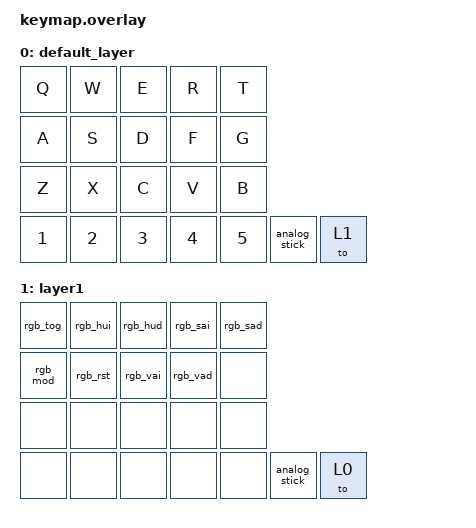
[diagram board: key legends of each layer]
/ {
    keymap {
        compatible = "zmk,keymap";

        default_layer {
            bindings = <
                &kp Q &kp W &kp E &kp R &kp T
                &kp A &kp S &kp D &kp F &kp G
                &kp Z &kp X &kp C &kp V &kp B
                &kp 1 &kp 2 &kp 3 &kp 4 &kp 5 &analog_stick &to 1
            >;
        };

        layer1 {
            bindings = <
                &rgb_tog &rgb_hui &rgb_hud &rgb_sai &rgb_sad
                &rgb_mod &rgb_rst &rgb_vai &rgb_vad &none
                &none &none &none &none &none
                &none &none &none &none &none &analog_stick &to 0
            >;
        };
    };
};

// Trigger build



